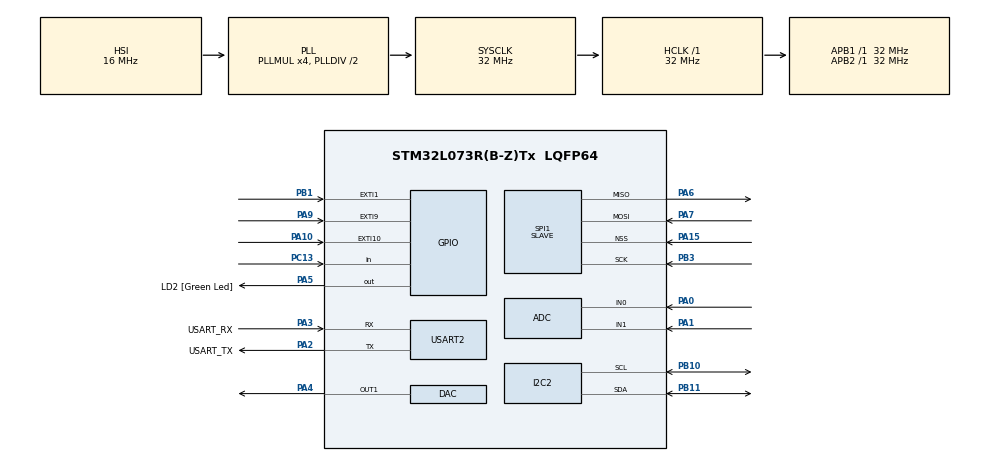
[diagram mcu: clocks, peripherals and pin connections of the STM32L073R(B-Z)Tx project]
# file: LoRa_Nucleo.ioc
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FREERTOS.Tasks01=Communications,24,128,CommunicationsTask,Default,NULL,Dynamic,NULL,NULL;Sensor,24,128,SensorTask,Default,NULL,Dynamic,NULL,NULL
I2C2.Timing=0x00707CBB
Mcu.Family=STM32L0
Mcu.Name=STM32L073R(B-Z)Tx
Mcu.Package=LQFP64
NVIC.EXTI4_15_IRQn=true\:0\:0\:true\:false\:true\:true\:true\:true\:true
PA0.Mode=IN0
PA0.Signal=ADC_IN0
PA1.Mode=IN1
PA1.Signal=ADC_IN1
PA10.Signal=GPXTI10
PA13.Mode=Serial_Wire
PA13.Signal=SYS_SWDIO
PA14.Mode=Serial_Wire
PA14.Signal=SYS_SWCLK
PA15.Mode=NSS_Signal_Hard_Input
PA15.Signal=SPI1_NSS
PA2.GPIO_Label=USART_TX
PA2.Mode=Asynchronous
PA2.Signal=USART2_TX
PA3.GPIO_Label=USART_RX
PA3.Mode=Asynchronous
PA3.Signal=USART2_RX
PA4.Signal=COMP_DAC1_group
PA5.GPIO_Label=LD2 [Green Led]
PA5.Signal=GPIO_Output
PA6.Mode=Full_Duplex_Slave
PA6.Signal=SPI1_MISO
PA7.Mode=Full_Duplex_Slave
PA7.Signal=SPI1_MOSI
PA9.Signal=GPXTI9
PB1.Signal=GPXTI1
PB10.Mode=I2C
PB10.Signal=I2C2_SCL
PB11.Mode=I2C
PB11.Signal=I2C2_SDA
PB3.Mode=Full_Duplex_Slave
PB3.Signal=SPI1_SCK
PC13.Signal=GPIO_Input
PC14-OSC32_IN.Mode=LSE-External-Oscillator
PC14-OSC32_IN.Signal=RCC_OSC32_IN
PC15-OSC32_OUT.Mode=LSE-External-Oscillator
PC15-OSC32_OUT.Signal=RCC_OSC32_OUT
PH0-OSC_IN.GPIO_Label=MCO
PH0-OSC_IN.Mode=HSE-External-Clock-Source
PH0-OSC_IN.Signal=RCC_OSC_IN
ProjectManager.HeapSize=0x200
ProjectManager.StackSize=0x400
ProjectManager.TargetToolchain=STM32CubeIDE
RCC.AHBFreq_Value=32000000
RCC.APB1Freq_Value=32000000
RCC.APB1TimFreq_Value=32000000
RCC.APB2Freq_Value=32000000
RCC.APB2TimFreq_Value=32000000
RCC.HCLKFreq_Value=32000000
RCC.HSE_VALUE=8000000
RCC.HSI16_VALUE=16000000
RCC.HSI48_VALUE=48000000
RCC.HSI_VALUE=16000000
RCC.MSI_VALUE=2097000
RCC.PLLMUL=RCC_PLLMUL_4
RCC.SYSCLKFreq_VALUE=32000000
RCC.SYSCLKSource=RCC_SYSCLKSOURCE_PLLCLK
RCC.VCOOutputFreq_Value=64000000
SH.COMP_DAC1_group.0=DAC_OUT1,DAC_OUT1
SPI1.DataSize=SPI_DATASIZE_8BIT
SPI1.Direction=SPI_DIRECTION_2LINES
SPI1.Mode=SPI_MODE_SLAVE
SPI1.VirtualNSS=VM_NSSHARD
SPI1.VirtualType=VM_SLAVE
TIM6.Prescaler=7999
USART2.VirtualMode-Asynchronous=VM_ASYNC
VP_FREERTOS_VS_CMSIS_V2.Mode=CMSIS_V2
VP_TIM6_VS_ClockSourceINT.Mode=Enable_Timer
board=NUCLEO-L073RZ

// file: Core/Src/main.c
/* USER CODE BEGIN Header */
/**
  ******************************************************************************
  * @file           : main.c
  * @brief           : Main program body
  ******************************************************************************
  * @attention
  *
  * Copyright (c) 2022 STMicroelectronics.
  * All rights reserved.
  *
  * This software is licensed under terms that can be found in the LICENSE file
  * in the root directory of this software component.
  * If no LICENSE file comes with this software, it is provided AS-IS.
  *
  ******************************************************************************
  */
/* USER CODE END Header */
#include "main.h"
#include "cmsis_os.h"

/* USER CODE BEGIN PD */
//#define MSGQUEUE_OBJECTS 1                     // number of Message Queue Objects
#define FLAG_DATA 0x00000001U
#define FLAG_SLEEP 0x00000001U

// Define I2C address and register addresses
#define ADPD188BI         0x64
#define MODE              0x10
#define SAMPLE_CLK        0x4B

#define PROGRAM_MODE_MSB          0b00000000
#define PROGRAM_MODE_LSB          0b00000001
#define NORMAL_MODE_MSB           0b00000000
#define NORMAL_MODE_LSB           0b00000010
#define SAMPLE_CLK_ENABLED_MSB    0b01001100
#define SAMPLE_CLK_ENABLED_LSB    0b10010010

/* USER CODE END PD */

ADC_HandleTypeDef hadc;

DAC_HandleTypeDef hdac;

SPI_HandleTypeDef hspi1;
I2C_HandleTypeDef hi2c2;
TIM_HandleTypeDef htim6;

UART_HandleTypeDef huart2;

/* Definitions for Flame */
osThreadId_t SendDataHandle;
const osThreadAttr_t SendData_attributes = {
  .name = "SendData",
  .stack_size = 128 * 4,
  .priority = (osPriority_t) osPriorityAboveNormal,
};

/* Definitions for Command */
osThreadId_t CommandHandle;
const osThreadAttr_t Command_attributes = {
  .name = "Command",
  .stack_size = 128 * 4,
  .priority = (osPriority_t) osPriorityHigh,
};
/* Definitions for DataCollection */
osThreadId_t DataCollectionHandle;
const osThreadAttr_t DataCollection_attributes = {
  .name = "DataCollection",
  .stack_size = 128 * 4,
  .priority = (osPriority_t) osPriorityNormal,
};
/* USER CODE BEGIN PV */
int Rotations = 0; // cup rotation counter used in interrupt routine
int ContactBounceTime = 0; // Timer to avoid contact bounce in interrupt routine
int WindSpeed; // speed miles per hour
int counter=-1;

osEventFlagsId_t evt_data;
osEventFlagsId_t evt_sleep;

/* USER CODE END PV */

void SystemClock_Config(void);

static void MX_GPIO_Init(void);
static void MX_USART2_UART_Init(void);
static void MX_ADC_Init(void);
static void MX_DAC_Init(void);
static void MX_TIM6_Init(void);
static void MX_SPI1_Init(void);
static void MX_I2C2_Init(void);

void SendDataTask(void *argument);
void CommandTask(void *argument);
void DataCollectionTask(void *argument);

/* USER CODE BEGIN 0 */

uint16_t SENSOR_DATA[4];
int STAND_BY = 0;

#define PUTCHAR_PROTOTYPE int __io_putchar(int ch)

void HAL_GPIO_EXTI_Callback(uint16_t GPIO_Pin)
{
	char msg7[50];

	  if (GPIO_Pin == GPIO_PIN_10) {
		  if (__HAL_PWR_GET_FLAG(PWR_FLAG_SB) != RESET)
		  	  {
			  HAL_GPIO_WritePin(GPIOA, GPIO_PIN_5, GPIO_PIN_SET);
		  		  HAL_PWR_EnterSTOPMode(PWR_LOWPOWERREGULATOR_ON, PWR_STOPENTRY_WFE);
		  	  }

		  //sprintf(msg7, "ROTATION\r\n");
		  //HAL_UART_Transmit(&huart2, (uint8_t*)msg7, strlen(msg7), HAL_MAX_DELAY);

		  if (HAL_GetTick() - ContactBounceTime > 15 ) { // debounce the switch contact.

		  Rotations++;

		 // sprintf(msg7, "rotations: %d\r\n", Rotations ); // mph * 100
		 // HAL_UART_Transmit(&huart2, (uint8_t*)msg7, strlen(msg7), HAL_MAX_DELAY);
		  ContactBounceTime = HAL_GetTick();
		  }
	  }
	  if (GPIO_Pin == GPIO_PIN_9) {

		  __SEV();
		  HAL_GPIO_WritePin(GPIOA, GPIO_PIN_5, GPIO_PIN_RESET);
		  //sprintf(msg7, "PA9\r\n");
		  //HAL_UART_Transmit(&huart2, (uint8_t*)msg7, strlen(msg7), HAL_MAX_DELAY);
		  SystemClock_Config();

		  HAL_ResumeTick();

	  }

}

uint8_t i2c_readRegisterByte(uint8_t deviceAddress, uint8_t registerAddress) {
    uint8_t data;
    HAL_I2C_Mem_Read(&hi2c2, deviceAddress << 1, registerAddress, 1, &data, 1, HAL_MAX_DELAY);
    return data;
}

uint8_t i2c_writeRegisterByte(uint8_t deviceAddress, uint8_t registerAddress, uint8_t MSB_RegisterByte, uint8_t LSB_RegisterByte) {
    uint8_t data[2] = {MSB_RegisterByte, LSB_RegisterByte};
    return HAL_I2C_Mem_Write(&hi2c2, deviceAddress << 1, registerAddress, 1, data, 2, HAL_MAX_DELAY);
}

void ADPD188BI_StartSampling(void) {
    // Set CLK32K_EN bit to 1 and force the device into program mode
    i2c_writeRegisterByte(ADPD188BI, SAMPLE_CLK, SAMPLE_CLK_ENABLED_MSB, SAMPLE_CLK_ENABLED_LSB);
    i2c_writeRegisterByte(ADPD188BI, MODE, PROGRAM_MODE_MSB, PROGRAM_MODE_LSB);

    // Recommended settings ADPD188BI (Table 26 from Data Sheet)
    i2c_writeRegisterByte(ADPD188BI, 0x11, 0x30, 0x68);
    i2c_writeRegisterByte(ADPD188BI, 0x12, 0x02, 0x00);
    i2c_writeRegisterByte(ADPD188BI, 0x14, 0x01, 0x1D);
    i2c_writeRegisterByte(ADPD188BI, 0x15, 0x00, 0x00);
    i2c_writeRegisterByte(ADPD188BI, 0x17, 0x00, 0x09);
    i2c_writeRegisterByte(ADPD188BI, 0x18, 0x00, 0x00);
    i2c_writeRegisterByte(ADPD188BI, 0x19, 0x3F, 0xFF);
    i2c_writeRegisterByte(ADPD188BI, 0x1A, 0x3F, 0xFF);
    i2c_writeRegisterByte(ADPD188BI, 0x1B, 0x3F, 0xFF);
    i2c_writeRegisterByte(ADPD188BI, 0x1D, 0x00, 0x09);
    i2c_writeRegisterByte(ADPD188BI, 0x1E, 0x00, 0x00);
    i2c_writeRegisterByte(ADPD188BI, 0x1F, 0x3F, 0xFF);
    i2c_writeRegisterByte(ADPD188BI, 0x20, 0x3F, 0xFF);
    i2c_writeRegisterByte(ADPD188BI, 0x21, 0x3F, 0xFF);
    i2c_writeRegisterByte(ADPD188BI, 0x22, 0x35, 0x39);
    i2c_writeRegisterByte(ADPD188BI, 0x23, 0x35, 0x36);
    i2c_writeRegisterByte(ADPD188BI, 0x24, 0x15, 0x30);
    i2c_writeRegisterByte(ADPD188BI, 0x25, 0x63, 0x0C);
    i2c_writeRegisterByte(ADPD188BI, 0x30, 0x03, 0x20);
    i2c_writeRegisterByte(ADPD188BI, 0x31, 0x04, 0x0E);
    i2c_writeRegisterByte(ADPD188BI, 0x35, 0x03, 0x20);
    i2c_writeRegisterByte(ADPD188BI, 0x36, 0x04, 0x0E);
    i2c_writeRegisterByte(ADPD188BI, 0x39, 0x22, 0xF0);
    i2c_writeRegisterByte(ADPD188BI, 0x3B, 0x22, 0xF0);
    i2c_writeRegisterByte(ADPD188BI, 0x3C, 0x31, 0xC6);
    i2c_writeRegisterByte(ADPD188BI, 0x42, 0x1C, 0x34);
    i2c_writeRegisterByte(ADPD188BI, 0x43, 0xAD, 0xA5);
    i2c_writeRegisterByte(ADPD188BI, 0x44, 0x1C, 0x34);
    i2c_writeRegisterByte(ADPD188BI, 0x45, 0xAD, 0xA5);
    i2c_writeRegisterByte(ADPD188BI, 0x58, 0x05, 0x44);
    i2c_writeRegisterByte(ADPD188BI, 0x11, 0x30, 0xA9);

    // Start normal Sampling operation
    i2c_writeRegisterByte(ADPD188BI, MODE, NORMAL_MODE_MSB, NORMAL_MODE_LSB);
}

// Function for SPI Communication to send data to IoT Tracker
int iot_tracker_communication(uint8_t* TX_Data, uint8_t*  RX_Data ) {
		//char spimsg[50];
		//char msg[50];
		int status;

		//Begin
		//sprintf(spimsg,"----- Communication begin -----\r\n");
		//HAL_UART_Transmit(&huart2, (uint8_t*) spimsg, strlen(spimsg), HAL_MAX_DELAY);

		//SPI Communication

		status = HAL_SPI_TransmitReceive( &hspi1, (uint8_t *) TX_Data,(uint8_t *) RX_Data,1, 0xFFFFFFFFU);

		uint8_t i = *RX_Data;
		//NEED TO MAKE NORMILIZATION FOR THE SENSOR DATA
		if (i == 0 || i == 3){
			*TX_Data = SENSOR_DATA[i];
			//sprintf(msg, "I got the command to send the %d st and i will send the value: %d \r\n", i, *TX_Data);
			//HAL_UART_Transmit(&huart2, (uint16_t*)msg, strlen(msg), HAL_MAX_DELAY);
		}
		else if (i>0 || i < 3){
			*TX_Data = SENSOR_DATA[i]/16;
			//sprintf(msg, "I got the command to send the %d st and i will send the value: %d \r\n", i, *TX_Data);
			//HAL_UART_Transmit(&huart2, (uint16_t*)msg, strlen(msg), HAL_MAX_DELAY);
		}

		return 0;
	}
/* USER CODE END 0 */

int main(void)
{

  /* MCU Configuration--------------------------------------------------------*/

  /* Reset of all peripherals, Initializes the Flash interface and the Systick. */
  HAL_Init();

  /* Configure the system clock */
  SystemClock_Config();

  /* Initialize all configured peripherals */
  MX_GPIO_Init();
  MX_USART2_UART_Init();
  MX_ADC_Init();
  MX_DAC_Init();
  MX_TIM6_Init();
  MX_SPI1_Init();
  MX_I2C2_Init();

  /* Init scheduler */
  osKernelInitialize();
  evt_data = osEventFlagsNew(NULL);
  evt_sleep = osEventFlagsNew(NULL);

  /* Create the thread(s) */
  /* creation of SendData */
  SendDataHandle = osThreadNew(SendDataTask, NULL, &SendData_attributes);

  /* creation of DataCollection */
  DataCollectionHandle = osThreadNew(DataCollectionTask, NULL, &DataCollection_attributes);

  /* creation of Command */
  CommandHandle = osThreadNew(CommandTask, NULL, &Command_attributes);

  /* Start scheduler */
  osKernelStart();

  /* We should never get here as control is now taken by the scheduler */

}

void SystemClock_Config(void)
{
  RCC_OscInitTypeDef RCC_OscInitStruct = {0};
  RCC_ClkInitTypeDef RCC_ClkInitStruct = {0};
  RCC_PeriphCLKInitTypeDef PeriphClkInit = {0};

  /** Configure the main internal regulator output voltage
  */
  __HAL_PWR_VOLTAGESCALING_CONFIG(PWR_REGULATOR_VOLTAGE_SCALE1);

  /** Initializes the RCC Oscillators according to the specified parameters
  * in the RCC_OscInitTypeDef structure.
  */
  RCC_OscInitStruct.OscillatorType = RCC_OSCILLATORTYPE_HSI;
  RCC_OscInitStruct.HSIState = RCC_HSI_ON;
  RCC_OscInitStruct.HSICalibrationValue = RCC_HSICALIBRATION_DEFAULT;
  RCC_OscInitStruct.PLL.PLLState = RCC_PLL_ON;
  RCC_OscInitStruct.PLL.PLLSource = RCC_PLLSOURCE_HSI;
  RCC_OscInitStruct.PLL.PLLMUL = RCC_PLLMUL_4;
  RCC_OscInitStruct.PLL.PLLDIV = RCC_PLLDIV_2;
  if (HAL_RCC_OscConfig(&RCC_OscInitStruct) != HAL_OK)
  {
    Error_Handler();
  }

  /** Initializes the CPU, AHB a /* while (1)nd APB buses clocks
  */
  RCC_ClkInitStruct.ClockType = RCC_CLOCKTYPE_HCLK|RCC_CLOCKTYPE_SYSCLK
                              |RCC_CLOCKTYPE_PCLK1|RCC_CLOCKTYPE_PCLK2;
  RCC_ClkInitStruct.SYSCLKSource = RCC_SYSCLKSOURCE_PLLCLK;
  RCC_ClkInitStruct.AHBCLKDivider = RCC_SYSCLK_DIV1;
  RCC_ClkInitStruct.APB1CLKDivider = RCC_HCLK_DIV1;
  RCC_ClkInitStruct.APB2CLKDivider = RCC_HCLK_DIV1;

  if (HAL_RCC_ClockConfig(&RCC_ClkInitStruct, FLASH_LATENCY_1) != HAL_OK)
  {
    Error_Handler();
  }
  PeriphClkInit.PeriphClockSelection = RCC_PERIPHCLK_USART2;
  PeriphClkInit.Usart2ClockSelection = RCC_USART2CLKSOURCE_PCLK1;
  if (HAL_RCCEx_PeriphCLKConfig(&PeriphClkInit) != HAL_OK)
  {
    Error_Handler();
  }
}

static void MX_ADC_Init(void)
{

  ADC_ChannelConfTypeDef sConfig = {0};

  /** Configure the global features of the ADC (Clock, Resolution, Data Alignment and number of conversion)
  */
  hadc.Instance = ADC1;
  hadc.Init.OversamplingMode = DISABLE;
  hadc.Init.ClockPrescaler = ADC_CLOCK_SYNC_PCLK_DIV2;
  hadc.Init.Resolution = ADC_RESOLUTION_12B;
  hadc.Init.SamplingTime = ADC_SAMPLETIME_1CYCLE_5;
  hadc.Init.ScanConvMode = ADC_SCAN_DIRECTION_FORWARD;
  hadc.Init.DataAlign = ADC_DATAALIGN_RIGHT;
  hadc.Init.ContinuousConvMode = DISABLE;
  hadc.Init.DiscontinuousConvMode = DISABLE;
  hadc.Init.ExternalTrigConvEdge = ADC_EXTERNALTRIGCONVEDGE_NONE;
  hadc.Init.ExternalTrigConv = ADC_SOFTWARE_START;
  hadc.Init.DMAContinuousRequests = DISABLE;
  hadc.Init.EOCSelection = ADC_EOC_SINGLE_CONV;
  hadc.Init.Overrun = ADC_OVR_DATA_PRESERVED;
  hadc.Init.LowPowerAutoWait = DISABLE;
  hadc.Init.LowPowerFrequencyMode = DISABLE;
  hadc.Init.LowPowerAutoPowerOff = DISABLE;
  if (HAL_ADC_Init(&hadc) != HAL_OK)
  {
    Error_Handler();
  }

  /** Configure for the selected ADC regular channel to be converted.
  */
  sConfig.Channel = ADC_CHANNEL_0;
  sConfig.Rank = ADC_RANK_CHANNEL_NUMBER;
  if (HAL_ADC_ConfigChannel(&hadc, &sConfig) != HAL_OK)
  {
    Error_Handler();
  }

  /** Configure for the selected ADC regular channel to be converted.
  */
  sConfig.Channel = ADC_CHANNEL_1;
  if (HAL_ADC_ConfigChannel(&hadc, &sConfig) != HAL_OK)
  {
    Error_Handler();
  }

}

static void MX_DAC_Init(void)
{

  DAC_ChannelConfTypeDef sConfig = {0};

  /** DAC Initialization
  */
  hdac.Instance = DAC;
  if (HAL_DAC_Init(&hdac) != HAL_OK)
  {
    Error_Handler();
  }

  /** DAC channel OUT1 config
  */
  sConfig.DAC_Trigger = DAC_TRIGGER_NONE;
  sConfig.DAC_OutputBuffer = DAC_OUTPUTBUFFER_ENABLE;
  if (HAL_DAC_ConfigChannel(&hdac, &sConfig, DAC_CHANNEL_1) != HAL_OK)
  {
    Error_Handler();
  }

}

static void MX_SPI1_Init(void)
{

  /* SPI1 parameter configuration*/
  hspi1.Instance = SPI1;
  hspi1.Init.Mode = SPI_MODE_SLAVE;
  hspi1.Init.Direction = SPI_DIRECTION_2LINES;
  hspi1.Init.DataSize = SPI_DATASIZE_8BIT;
  hspi1.Init.CLKPolarity = SPI_POLARITY_LOW;
  hspi1.Init.CLKPhase = SPI_PHASE_1EDGE;
  hspi1.Init.NSS = SPI_NSS_HARD_INPUT;
  hspi1.Init.FirstBit = SPI_FIRSTBIT_MSB;
  hspi1.Init.TIMode = SPI_TIMODE_DISABLE;
  hspi1.Init.CRCCalculation = SPI_CRCCALCULATION_DISABLE;
  hspi1.Init.CRCPolynomial = 7;
  if (HAL_SPI_Init(&hspi1) != HAL_OK)
  {
    Error_Handler();
  }

}

static void MX_TIM6_Init(void)
{

  TIM_MasterConfigTypeDef sMasterConfig = {0};

  htim6.Instance = TIM6;
  htim6.Init.Prescaler = 7999;
  htim6.Init.CounterMode = TIM_COUNTERMODE_UP;
  htim6.Init.Period = 65535;
  htim6.Init.AutoReloadPreload = TIM_AUTORELOAD_PRELOAD_DISABLE;
  if (HAL_TIM_Base_Init(&htim6) != HAL_OK)
  {
    Error_Handler();
  }
  sMasterConfig.MasterOutputTrigger = TIM_TRGO_RESET;
  sMasterConfig.MasterSlaveMode = TIM_MASTERSLAVEMODE_DISABLE;
  if (HAL_TIMEx_MasterConfigSynchronization(&htim6, &sMasterConfig) != HAL_OK)
  {
    Error_Handler();
  }

}

static void MX_USART2_UART_Init(void)
{

  huart2.Instance = USART2;
  huart2.Init.BaudRate = 115200;
  huart2.Init.WordLength = UART_WORDLENGTH_8B;
  huart2.Init.StopBits = UART_STOPBITS_1;
  huart2.Init.Parity = UART_PARITY_NONE;
  huart2.Init.Mode = UART_MODE_TX_RX;
  huart2.Init.HwFlowCtl = UART_HWCONTROL_NONE;
  huart2.Init.OverSampling = UART_OVERSAMPLING_16;
  huart2.Init.OneBitSampling = UART_ONE_BIT_SAMPLE_DISABLE;
  huart2.AdvancedInit.AdvFeatureInit = UART_ADVFEATURE_NO_INIT;
  if (HAL_UART_Init(&huart2) != HAL_OK)
  {
    Error_Handler();
  }

}

static void MX_GPIO_Init(void)
{
  GPIO_InitTypeDef GPIO_InitStruct = {0};

  /* GPIO Ports Clock Enable */
  __HAL_RCC_GPIOC_CLK_ENABLE();
  __HAL_RCC_GPIOH_CLK_ENABLE();
  __HAL_RCC_GPIOA_CLK_ENABLE();
  __HAL_RCC_GPIOB_CLK_ENABLE();

  /*Configure GPIO pin Output Level */
  HAL_GPIO_WritePin(LD2_GPIO_Port, LD2_Pin, GPIO_PIN_RESET);

  /*Configure GPIO pin : B1_Pin */
  /*GPIO_InitStruct.Pin = B1_Pin;
  GPIO_InitStruct.Mode = GPIO_MODE_EVT_FALLING;
  GPIO_InitStruct.Pull = GPIO_NOPULL;
  HAL_GPIO_Init(B1_GPIO_Port, &GPIO_InitStruct);
*/
  /*Configure GPIO pin : LD2_Pin */
  GPIO_InitStruct.Pin = LD2_Pin;
  GPIO_InitStruct.Mode = GPIO_MODE_OUTPUT_PP;
  GPIO_InitStruct.Pull = GPIO_NOPULL;
  GPIO_InitStruct.Speed = GPIO_SPEED_FREQ_LOW;
  HAL_GPIO_Init(LD2_GPIO_Port, &GPIO_InitStruct);

  /*Configure GPIO pin : PB1 */
  GPIO_InitStruct.Pin = GPIO_PIN_1;
  GPIO_InitStruct.Mode = GPIO_MODE_IT_RISING;
  GPIO_InitStruct.Pull = GPIO_NOPULL;
  HAL_GPIO_Init(GPIOB, &GPIO_InitStruct);

  /*Configure GPIO pins : PA9 PA10 */
  GPIO_InitStruct.Pin = GPIO_PIN_9|GPIO_PIN_10;
  GPIO_InitStruct.Mode = GPIO_MODE_IT_RISING;
  GPIO_InitStruct.Pull = GPIO_NOPULL;
  HAL_GPIO_Init(GPIOA, &GPIO_InitStruct);

  /* EXTI interrupt init*/
  HAL_NVIC_SetPriority(EXTI4_15_IRQn, 0, 0);
  HAL_NVIC_EnableIRQ(EXTI4_15_IRQn);

}

/* USER CODE BEGIN 4 */
/**
  * @brief  Retargets the C library printf function to the USART.
  * @param  None
  * @retval None
  */
PUTCHAR_PROTOTYPE
{
  /* Place your implementation of fputc here */
  /* e.g. write a character to the USART1 and Loop until the end of transmission */
  HAL_UART_Transmit(&huart2, (uint8_t *)&ch, 1, 0xFFFF);

  return ch;
}

/* USER CODE END 4 */

void CommandTask(void *argument)
{

	char msg[50];
	uint32_t flags;

		  /* Infinite loop */
		  for(;;)
		  {

			  __WFE();
			  sprintf(msg, "SLEEP MODE TASK!!! \r\n");
			  HAL_UART_Transmit(&huart2, (uint16_t*)msg, strlen(msg), HAL_MAX_DELAY);

			  flags = osEventFlagsWait(evt_sleep, FLAG_SLEEP, osFlagsWaitAny, osWaitForever);

			  sprintf(msg, "SLEEP MODE!!! \r\n");
			  HAL_UART_Transmit(&huart2, (uint16_t*)msg, strlen(msg), HAL_MAX_DELAY);
			  HAL_GPIO_WritePin(GPIOA, GPIO_PIN_5, GPIO_PIN_SET);

			  HAL_SuspendTick();
			  HAL_PWR_EnterSTOPMode(PWR_MAINREGULATOR_ON, PWR_STOPENTRY_WFE);
			  //MX_SPI1_Init();
			  sprintf(msg, "exit from stop mode!!! \r\n");
			  HAL_UART_Transmit(&huart2, (uint16_t*)msg, strlen(msg), HAL_MAX_DELAY);

			 // STAND_BY = 0;
			  //HAL_GPIO_WritePin(GPIOA, GPIO_PIN_5, GPIO_PIN_RESET);
			 //vTaskDelay(1000);
		  }

}

void SendDataTask(void *argument)
{

	uint32_t flags;
	char msg[50];
	/* Infinite loop */
	for(;;)
	{

		flags = osEventFlagsWait(evt_data, FLAG_DATA, osFlagsWaitAny, osWaitForever);
		sprintf(msg, "SEND DATA TASK \r\n");
		HAL_UART_Transmit(&huart2, (uint16_t*)msg, strlen(msg), HAL_MAX_DELAY);

		uint8_t TX_Data;
		uint8_t RX_Data;

		TX_Data = SENSOR_DATA[0];

		while(counter !=4){
			iot_tracker_communication((uint8_t*) &TX_Data,(uint8_t*)  &RX_Data );
			counter = RX_Data;
		}

		//if(counter == 3){
			counter = -1;
			osEventFlagsSet(evt_sleep, FLAG_SLEEP);
		//}

	}

}

void DataCollectionTask(void *argument)
{
	 /* USER CODE BEGIN 5 */
	uint8_t wind_speed_val;
	uint16_t wind_direction_val;
	uint16_t flame_val;
	uint16_t smoke_detection_data;

	char msg[50];

	/* Infinite loop */
	  for(;;)
	  {
		   sprintf(msg, "DATA COLLECTION TASK START!!! \r\n");
		   HAL_UART_Transmit(&huart2, (uint16_t*)msg, strlen(msg), HAL_MAX_DELAY);

		   /* READ FLAME SENSOR! */

		    ADC_ChannelConfTypeDef sConfig = {0};
		 	/** Configure for the selected ADC regular channel its corresponding rank in the sequencer and its sample time. */
		    	sConfig.Channel = ADC_CHANNEL_1;
		    	sConfig.Rank = 1;
		  	  	if (HAL_ADC_ConfigChannel(&hadc, &sConfig) != HAL_OK)
		  	  	  {
		  	  	    Error_Handler();
		  	  	 }
			// Get ADC value
		      HAL_ADC_Start(&hadc);
		      HAL_ADC_PollForConversion(&hadc, HAL_MAX_DELAY);
		      flame_val = HAL_ADC_GetValue(&hadc);
		      HAL_ADC_Stop(&hadc);

				sConfig.Rank = ADC_RANK_NONE;
				if (HAL_ADC_ConfigChannel(&hadc, &sConfig) != HAL_OK)
				  {
					Error_Handler();
				 }
			//Pretend we have to do something else for a while
			   ADC_ChannelConfTypeDef sConfigd = {0};
			   sConfigd.Channel = ADC_CHANNEL_0;
			   sConfigd.Rank = 1;
			   if (HAL_ADC_ConfigChannel(&hadc, &sConfigd) != HAL_OK)
			   	   {
		 	   		Error_Handler();
			   	   }
		   /* END FLAME SENSOR! */

		   /* READ WIND DIRECTION! */
			// Get ADC value
		 	   	HAL_ADC_Start(&hadc);
		 	   	HAL_ADC_PollForConversion(&hadc, HAL_MAX_DELAY);
		 	   	wind_direction_val = HAL_ADC_GetValue(&hadc);
		 	   	HAL_ADC_Stop(&hadc);

		 	   	sConfigd.Rank = ADC_RANK_NONE;
		 	    		if (HAL_ADC_ConfigChannel(&hadc, &sConfigd) != HAL_OK)
		 	   		  {
		 	   			Error_Handler();
		 	   		  }
		  /* END WIND DIRECTION! */

		  /* READ WIND SPEED */
		 	  HAL_GPIO_ReadPin(GPIOA, GPIO_PIN_10);
			  __enable_irq();
			 // vTaskDelay(3000);
			  Rotations = 0; // current fix (bcz exti callback is called before infinitely many time)
			  TickType_t currentTick = xTaskGetTickCount();
			  while(xTaskGetTickCount() - currentTick < pdMS_TO_TICKS(3000));
			 __disable_irq();

			 // convert to mp/h using the formula V=P(2.25/T)
		     // V = P(2.25/3) = P * 0.75

			 wind_speed_val = Rotations ; //* 75  ;

			 /*For debug print as above*/
			 // sprintf(msg, "Wind Speed: %d\r\n", wind_speed_val ); // mph * 100
			 // HAL_UART_Transmit(&huart2, (uint8_t*)msg, strlen(msg), HAL_MAX_DELAY);

			  Rotations = 0;
			  ContactBounceTime = 0;
		     /* END WIND SPEED */

			 //Set sensor values to SENSOR_DATA array
			 SENSOR_DATA[0] = wind_speed_val;
			 SENSOR_DATA[1] = wind_direction_val;
			 SENSOR_DATA[2] = flame_val;

			 ADPD188BI_StartSampling(); // Start sampling operation

			 // Add your main loop logic here
			 smoke_detection_data = i2c_readRegisterByte(ADPD188BI, 0x64) << 8;
			 smoke_detection_data |= i2c_readRegisterByte(ADPD188BI, 0x65);

			 // Process the data as needed
			 //char buffer[20]; // A buffer to hold the string representation of the data
			 //sprintf(buffer, "Smoke data: %02d\r\n", smoke_detection_data);
			 //HAL_UART_Transmit(&huart2, buffer, strlen((char*)buffer), HAL_MAX_DELAY);

			 i2c_writeRegisterByte(ADPD188BI, MODE, 0x00, 0x00); //sleep mode

			 SENSOR_DATA[3] = smoke_detection_data/125;

			 sprintf(msg, "DATA COLLECTION TASK END!2!! %d %d %d %d \r\n", wind_speed_val, wind_direction_val/16, flame_val/16, smoke_detection_data/125 );
			 HAL_UART_Transmit(&huart2, (uint16_t*)msg, strlen(msg), HAL_MAX_DELAY);

			 osEventFlagsSet(evt_data, FLAG_DATA);

			 vTaskDelay(5000);

	  }
	  /* USER CODE END 5 */
}

void Error_Handler(void)
{
  /* USER CODE BEGIN Error_Handler_Debug */
  /* User can add his own implementation to report the HAL error return state */
  __disable_irq();
  char msg[50];

  while (1)
  {
	  sprintf(msg, "ERROR HANDLER\r\n");
	  HAL_UART_Transmit(&huart2, (uint16_t*)msg, strlen(msg), HAL_MAX_DELAY);

  }
  /* USER CODE END Error_Handler_Debug */
}

static void MX_I2C2_Init(void)
{

  hi2c2.Instance = I2C2;
  hi2c2.Init.Timing = 0x00707CBB;
  hi2c2.Init.OwnAddress1 = 0;
  hi2c2.Init.AddressingMode = I2C_ADDRESSINGMODE_7BIT;
  hi2c2.Init.DualAddressMode = I2C_DUALADDRESS_DISABLE;
  hi2c2.Init.OwnAddress2 = 0;
  hi2c2.Init.OwnAddress2Masks = I2C_OA2_NOMASK;
  hi2c2.Init.GeneralCallMode = I2C_GENERALCALL_DISABLE;
  hi2c2.Init.NoStretchMode = I2C_NOSTRETCH_DISABLE;
  if (HAL_I2C_Init(&hi2c2) != HAL_OK)
  {
    Error_Handler();
  }

  /** Configure Analogue filter
  */
  if (HAL_I2CEx_ConfigAnalogFilter(&hi2c2, I2C_ANALOGFILTER_ENABLE) != HAL_OK)
  {
    Error_Handler();
  }

  /** Configure Digital filter
  */
  if (HAL_I2CEx_ConfigDigitalFilter(&hi2c2, 0) != HAL_OK)
  {
    Error_Handler();
  }

}
